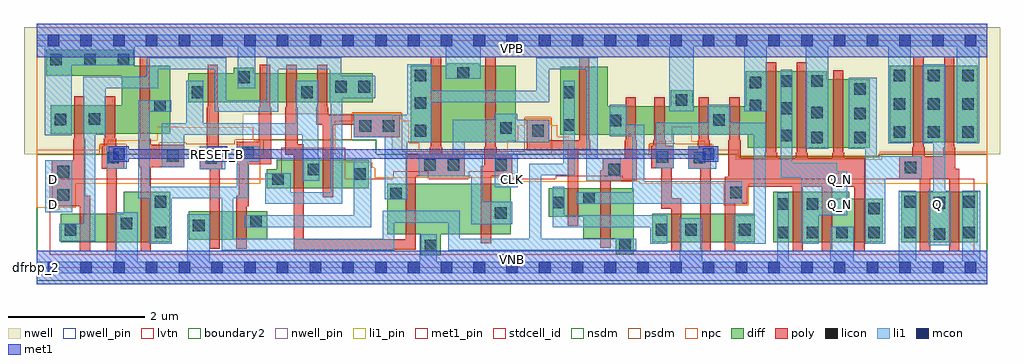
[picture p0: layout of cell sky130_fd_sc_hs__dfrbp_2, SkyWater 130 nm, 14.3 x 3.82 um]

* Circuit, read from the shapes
.subckt sky130_fd_sc_hs__dfrbp_2 CLK D Q Q_N RESET_B VGND VNB VPB VPWR
XM1 n1 D n2 VNB sky130_fd_pr__nfet_01v8_lvt w=0.42 l=0.15
XM2 VGND RESET_B n1 VNB sky130_fd_pr__nfet_01v8_lvt w=0.42 l=0.15
XM3 n3 n4 VGND VNB sky130_fd_pr__nfet_01v8_lvt w=0.74 l=0.15
XM4 n5 RESET_B VGND VNB sky130_fd_pr__nfet_01v8_lvt w=0.42 l=0.15
XM5 n6 n3 n5 VNB sky130_fd_pr__nfet_01v8_lvt w=0.42 l=0.15
XM6 n4 n7 n2 VNB sky130_fd_pr__nfet_01v8_lvt w=0.42 l=0.15
XM7 n6 n8 n4 VNB sky130_fd_pr__nfet_01v8_lvt w=0.42 l=0.15
XM8 VGND n7 n8 VNB sky130_fd_pr__nfet_01v8_lvt w=0.74 l=0.15
XM9 n7 CLK VGND VNB sky130_fd_pr__nfet_01v8_lvt w=0.74 l=0.15
XM10 n9 n7 n10 VNB sky130_fd_pr__nfet_01v8_lvt w=0.42 l=0.15
XM11 n3 n8 n9 VNB sky130_fd_pr__nfet_01v8_lvt w=0.74 l=0.15
XM12 VGND n11 n10 VNB sky130_fd_pr__nfet_01v8_lvt w=0.42 l=0.15
XM13 n12 RESET_B VGND VNB sky130_fd_pr__nfet_01v8_lvt w=0.42 l=0.15
XM14 n11 n9 n12 VNB sky130_fd_pr__nfet_01v8_lvt w=0.42 l=0.15
XM15 Q_N n9 VGND VNB sky130_fd_pr__nfet_01v8_lvt w=0.74 l=0.15 m=2
XM16 n13 n9 VGND VNB sky130_fd_pr__nfet_01v8_lvt w=0.64 l=0.15
XM17 Q n13 VGND VNB sky130_fd_pr__nfet_01v8_lvt w=0.74 l=0.15 m=2
XM18 n2 D VPWR VPB sky130_fd_pr__pfet_01v8 w=0.42 l=0.15
XM19 VPWR RESET_B n2 VPB sky130_fd_pr__pfet_01v8 w=0.42 l=0.15
XM20 n3 n4 VPWR VPB sky130_fd_pr__pfet_01v8 w=1 l=0.15
XM21 VPWR RESET_B n4 VPB sky130_fd_pr__pfet_01v8 w=0.42 l=0.15
XM22 n14 n3 VPWR VPB sky130_fd_pr__pfet_01v8 w=0.42 l=0.15
XM23 n4 n7 n14 VPB sky130_fd_pr__pfet_01v8 w=0.42 l=0.15
XM24 n2 n8 n4 VPB sky130_fd_pr__pfet_01v8 w=0.42 l=0.15
XM25 VPWR n7 n8 VPB sky130_fd_pr__pfet_01v8 w=1.12 l=0.15
XM26 n7 CLK VPWR VPB sky130_fd_pr__pfet_01v8 w=1.12 l=0.15
XM27 n9 n7 n3 VPB sky130_fd_pr__pfet_01v8 w=1 l=0.15
XM28 n15 n8 n9 VPB sky130_fd_pr__pfet_01v8 w=0.42 l=0.15
XM29 VPWR n11 n15 VPB sky130_fd_pr__pfet_01v8 w=0.42 l=0.15
XM30 n11 RESET_B VPWR VPB sky130_fd_pr__pfet_01v8 w=0.42 l=0.15
XM31 VPWR n9 n11 VPB sky130_fd_pr__pfet_01v8 w=0.42 l=0.15
XM32 Q_N n9 VPWR VPB sky130_fd_pr__pfet_01v8 w=1.12 l=0.15 m=2
XM33 n13 n9 VPWR VPB sky130_fd_pr__pfet_01v8 w=1 l=0.15
XM34 Q n13 VPWR VPB sky130_fd_pr__pfet_01v8 w=1.12 l=0.15 m=2
.ends

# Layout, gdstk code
import gdstk
lib = gdstk.Library(unit=1e-6, precision=1e-09)
def R(c, l, rs):  # rectangles x0, y0, x1, y1
    for r in rs: c.add(gdstk.rectangle(r[:2], r[2:], *l))
def A(c, l, x, y, w, h, nx, ny, dx, dy):  # array of equal rectangles
    R(c, l, [(x+i*dx, y+j*dy, x+i*dx+w, y+j*dy+h) for i in range(nx) for j in range(ny)])
def P(c, l, *ps):  # polygons
    for p in ps: c.add(gdstk.Polygon(p, *l))
nwell_pin = (64, 16)
nwell = (64, 20)
diff = (65, 20)
poly = (66, 20)
licon = (66, 44)
li1_pin = (67, 16)
li1 = (67, 20)
mcon = (67, 44)
met1_pin = (68, 16)
met1 = (68, 20)
stdcell_id = (81, 4)
nsdm = (93, 44)
psdm = (94, 20)
npc = (95, 20)
pwell_pin = (122, 16)
lvtn = (125, 44)
boundary2 = (236, 0)

sky130_fd_sc_hs__dfrbp_2 = lib.new_cell('sky130_fd_sc_hs__dfrbp_2')
R(sky130_fd_sc_hs__dfrbp_2, nwell_pin, [(0,3.085,13.92,3.33)])
P(sky130_fd_sc_hs__dfrbp_2, nwell, [(14.11,3.52),(-0.19,3.52),(-0.19,1.66),(3.025,1.66),(3.025,2.245),(5.2,2.245),(5.2,1.66),(10.235,1.66),(10.235,1.58),(12.385,1.58),(12.385,1.66),(14.11,1.66)])
R(sky130_fd_sc_hs__dfrbp_2, diff, [(9.015,0.37,10.515,0.79), (12.665,0.37,13.785,1.11), (2.225,0.405,3.375,0.825), (12.495,1.84,13.785,2.96)])
P(sky130_fd_sc_hs__dfrbp_2, diff, [(1.95,2.96),(1.415,2.96),(1.415,3.195),(0.135,3.195),(0.135,2.81),(1.24,2.81),(1.24,2.38),(0.2,2.38),(0.2,1.96),(1.95,1.96)],
  [(12.395,1.01),(11.9,1.01),(11.9,1.11),(10.785,1.11),(10.785,0.37),(12.395,0.37)],
  [(1.955,1.11),(1.27,1.11),(1.27,0.79),(0.35,0.79),(0.35,0.37),(1.955,0.37)],
  [(4.86,1.58),(3.51,1.58),(3.51,1.44),(3.365,1.44),(3.365,1.16),(4.86,1.16)],
  [(4.92,2.845),(3.175,2.845),(3.175,2.93),(2.885,2.93),(2.885,2.845),(2.22,2.845),(2.22,2.425),(4.92,2.425)],
  [(6.94,1.23),(5.13,1.23),(5.13,0.49),(5.625,0.49),(5.625,0.18),(5.915,0.18),(5.915,0.49),(6.94,0.49)],
  [(7.015,2.96),(6.48,2.96),(6.48,2.995),(6.01,2.995),(6.01,2.96),(5.475,2.96),(5.475,1.84),(7.015,1.84)],
  [(8.745,1.165),(7.495,1.165),(7.495,0.745),(8.005,0.745),(8.005,0.425),(8.48,0.425),(8.48,0.195),(8.745,0.195)],
  [(12.205,2.76),(11.575,2.76),(11.575,2.88),(10.385,2.88),(10.385,2.365),(9.605,2.365),(9.605,2.6),(9.285,2.6),(9.285,2.365),(8.36,2.365),(8.36,2.945),(7.665,2.945),(7.665,1.945),(10.415,1.945),(10.415,1.76),(12.205,1.76)])
P(sky130_fd_sc_hs__dfrbp_2, poly, [(1.28,1.78),(1.16,1.78),(1.16,1.885),(1.145,1.885),(1.145,2.51),(0.995,2.51),(0.995,1.885),(0.98,1.885),(0.98,1.78),(0.95,1.78),(0.95,1.45),(1.02,1.45),(1.02,0.24),(1.17,0.24),(1.17,1.45),(1.28,1.45)],
  [(2.155,1.8),(1.67,1.8),(1.67,1.885),(1.655,1.885),(1.655,3.09),(1.505,3.09),(1.505,1.885),(1.49,1.885),(1.49,1.47),(1.52,1.47),(1.52,0.24),(1.67,0.24),(1.67,1.47),(2.155,1.47)],
  [(2.715,1.775),(2.665,1.775),(2.665,2.35),(2.65,2.35),(2.65,2.975),(2.5,2.975),(2.5,2.35),(2.485,2.35),(2.485,1.775),(2.385,1.775),(2.385,1.445),(2.53,1.445),(2.53,0.275),(2.68,0.275),(2.68,1.445),(2.715,1.445)],
  [(3.43,2.35),(3.415,2.35),(3.415,2.975),(3.265,2.975),(3.265,2.35),(3.25,2.35),(3.25,1.845),(2.925,1.845),(2.925,1.515),(2.955,1.515),(2.955,1.05),(2.92,1.05),(2.92,0.275),(3.07,0.275),(3.07,0.9),(3.105,0.9),(3.105,1.515),(3.43,1.515)],
  [(5.315,2.24),(4.27,2.24),(4.27,2.35),(4.255,2.35),(4.255,2.975),(4.105,2.975),(4.105,2.35),(4.09,2.35),(4.09,2.09),(4.19,2.09),(4.19,1.03),(4.34,1.03),(4.34,2.09),(4.645,2.09),(4.645,1.91),(5.315,1.91)],
  [(6.265,1.67),(5.935,1.67),(5.935,1.765),(5.92,1.765),(5.92,3.09),(5.77,3.09),(5.77,1.765),(5.755,1.765),(5.755,1.67),(5.4,1.67),(5.4,0.415),(3.91,0.415),(3.91,1.805),(3.82,1.805),(3.82,2.35),(3.805,2.35),(3.805,2.975),(3.655,2.975),(3.655,2.35),(3.64,2.35),(3.64,1.655),(3.76,1.655),(3.76,0.265),(5.55,0.265),(5.55,1.34),(6.265,1.34)],
  [(6.965,1.67),(6.735,1.67),(6.735,1.765),(6.72,1.765),(6.72,3.09),(6.57,3.09),(6.57,1.765),(6.555,1.765),(6.555,1.49),(6.505,1.49),(6.505,0.36),(6.655,0.36),(6.655,1.34),(6.965,1.34)],
  [(8.11,1.87),(8.095,1.87),(8.095,3.075),(7.945,3.075),(7.945,1.87),(7.505,1.87),(7.505,2.17),(7.175,2.17),(7.175,1.72),(7.78,1.72),(7.78,0.615),(7.93,0.615),(7.93,1.72),(8.11,1.72)],
  [(8.79,1.87),(8.775,1.87),(8.775,2.495),(8.625,2.495),(8.625,1.87),(8.61,1.87),(8.61,1.605),(8.29,1.605),(8.29,1.425),(8.255,1.425),(8.255,0.295),(8.405,0.295),(8.405,1.275),(8.79,1.275)],
  [(9.44,1.015),(9.3,1.015),(9.3,1.455),(9.33,1.455),(9.33,1.785),(9.21,1.785),(9.21,1.87),(9.195,1.87),(9.195,2.495),(9.045,2.495),(9.045,1.87),(9.03,1.87),(9.03,1.785),(9,1.785),(9,1.455),(9.15,1.455),(9.15,0.865),(9.29,0.865),(9.29,0.24),(9.44,0.24)],
  [(9.87,1.78),(9.86,1.78),(9.86,1.87),(9.845,1.87),(9.845,2.495),(9.695,2.495),(9.695,1.87),(9.68,1.87),(9.68,1.78),(9.54,1.78),(9.54,1.45),(9.72,1.45),(9.72,0.24),(9.87,0.24)],
  [(12.125,1.6),(11.83,1.6),(11.83,1.685),(11.815,1.685),(11.815,2.89),(11.665,2.89),(11.665,1.685),(11.65,1.685),(11.65,1.6),(11.295,1.6),(11.295,1.685),(11.28,1.685),(11.28,3.01),(11.13,3.01),(11.13,1.685),(11.115,1.685),(11.115,1.6),(10.845,1.6),(10.845,1.685),(10.83,1.685),(10.83,3.01),(10.68,3.01),(10.68,1.685),(10.665,1.685),(10.665,1.6),(10.31,1.6),(10.31,1.87),(10.295,1.87),(10.295,2.495),(10.145,2.495),(10.145,1.87),(10.13,1.87),(10.13,1.335),(10.08,1.335),(10.08,0.24),(10.23,0.24),(10.23,0.935),(10.41,0.935),(10.41,1.185),(11.07,1.185),(11.07,0.24),(11.22,0.24),(11.22,1.185),(11.5,1.185),(11.5,0.24),(11.65,0.24),(11.65,1.185),(11.975,1.185),(11.975,0.24),(12.125,0.24)],
  [(13.515,1.45),(13.455,1.45),(13.455,1.765),(13.44,1.765),(13.44,3.09),(13.29,3.09),(13.29,1.765),(13.275,1.765),(13.275,1.63),(13.005,1.63),(13.005,1.765),(12.99,1.765),(12.99,3.09),(12.84,3.09),(12.84,1.765),(12.825,1.765),(12.825,1.63),(12.635,1.63),(12.635,1.3),(12.935,1.3),(12.935,0.24),(13.085,0.24),(13.085,1.3),(13.365,1.3),(13.365,0.24),(13.515,0.24)],
  [(0.78,1.05),(0.71,1.05),(0.71,1.885),(0.695,1.885),(0.695,2.51),(0.545,2.51),(0.545,1.885),(0.53,1.885),(0.53,1.57),(0.22,1.57),(0.22,0.9),(0.63,0.9),(0.63,0.24),(0.78,0.24)])
A(sky130_fd_sc_hs__dfrbp_2, licon, 11.975, 1.82, 0.17, 0.17, 1, 3, 0, 0.355)
A(sky130_fd_sc_hs__dfrbp_2, licon, 10.895, 1.85, 0.17, 0.17, 1, 3, 0, 0.4)
A(sky130_fd_sc_hs__dfrbp_2, licon, 12.555, 1.9, 0.17, 0.17, 3, 3, 0.5, 0.415)
A(sky130_fd_sc_hs__dfrbp_2, licon, 5.535, 1.92, 0.17, 0.17, 1, 3, 0, 0.405)
A(sky130_fd_sc_hs__dfrbp_2, licon, 0.195, 2.965, 0.17, 0.17, 3, 1, 0.495, 0)
R(sky130_fd_sc_hs__dfrbp_2, licon, [(5.685,0.24,5.855,0.41), (8.53,0.255,8.7,0.425), (13.14,0.41,13.31,0.58), (1.725,0.43,1.895,0.6), (10.845,0.43,11.015,0.6), (11.275,0.43,11.445,0.6), (11.71,0.43,11.88,0.6), (12.18,0.43,12.35,0.6), (12.71,0.43,12.88,0.6), (13.57,0.43,13.74,0.6), (0.405,0.47,0.575,0.64), (9.065,0.47,9.235,0.64), (9.495,0.47,9.665,0.64), (10.285,0.47,10.455,0.64), (2.285,0.53,2.455,0.7), (1.225,0.56,1.395,0.73), (3.125,0.595,3.295,0.765), (6.71,0.715,6.88,0.885), (12.18,0.78,12.35,0.95), (10.845,0.85,11.015,1.02), (11.275,0.85,11.445,1.02), (13.14,0.865,13.31,1.035), (7.555,0.87,7.725,1.04), (1.725,0.88,1.895,1.05), (12.71,0.88,12.88,1.05), (13.57,0.88,13.74,1.05), (8.005,0.935,8.175,1.105), (0.3,0.98,0.47,1.15), (5.175,1,5.345,1.17), (10.16,1.015,10.33,1.185), (3.445,1.215,3.615,1.385), (4.645,1.285,4.815,1.455), (0.3,1.32,0.47,1.49), (3.965,1.355,4.135,1.525), (8.37,1.355,8.54,1.525), (12.715,1.38,12.885,1.55), (5.675,1.42,5.845,1.59), (6.015,1.42,6.185,1.59), (6.715,1.42,6.885,1.59), (2.465,1.525,2.635,1.695), (1.03,1.53,1.2,1.7), (9.62,1.53,9.79,1.7), (9.08,1.535,9.25,1.705), (1.905,1.55,2.075,1.72), (3.005,1.595,3.175,1.765), (11.345,1.82,11.515,1.99), (7.255,1.92,7.425,2.09), (6.785,1.96,6.955,2.13), (4.725,1.99,4.895,2.16), (5.065,1.99,5.235,2.16), (7.71,2.005,7.88,2.175), (8.39,2.07,8.56,2.24), (9.91,2.08,10.08,2.25), (0.26,2.085,0.43,2.255), (0.76,2.09,0.93,2.26), (11.345,2.19,11.515,2.36), (1.72,2.285,1.89,2.455), (10.445,2.29,10.615,2.46), (9.36,2.37,9.53,2.54), (2.265,2.485,2.435,2.655), (3.87,2.485,4.04,2.655), (7.71,2.485,7.88,2.655), (4.37,2.565,4.54,2.735), (4.71,2.565,4.88,2.735), (10.445,2.63,10.615,2.8), (11.345,2.65,11.515,2.82), (2.945,2.705,3.115,2.875), (6.16,2.765,6.33,2.935)])
R(sky130_fd_sc_hs__dfrbp_2, li1_pin, [(0.155,0.84,0.325,1.01), (11.675,0.84,11.845,1.01), (13.115,0.84,13.285,1.01), (0.155,1.21,0.325,1.38), (6.875,1.21,7.045,1.38), (11.675,1.21,11.845,1.38)])
R(sky130_fd_sc_hs__dfrbp_2, li1, [(0.125,0.81,0.515,1.57), (6.705,1.18,7.045,1.67), (2.385,1.445,2.755,1.775), (1.025,1.45,1.315,1.78), (9.54,1.45,9.955,1.78)])
P(sky130_fd_sc_hs__dfrbp_2, li1, [(8.78,0.425),(7.385,0.425),(7.385,1.355),(7.88,1.355),(7.88,2.735),(7.71,2.735),(7.71,1.525),(7.215,1.525),(7.215,0.425),(6.195,0.425),(6.195,0.83),(5.065,0.83),(5.065,0.425),(2.875,0.425),(2.875,1.015),(3.095,1.015),(3.095,1.555),(3.255,1.555),(3.255,1.775),(2.925,1.775),(2.925,1.185),(1.655,1.185),(1.655,2.285),(1.97,2.285),(1.97,2.455),(1.485,2.455),(1.485,1.015),(1.645,1.015),(1.645,0.35),(1.975,0.35),(1.975,1.015),(2.705,1.015),(2.705,0.255),(5.235,0.255),(5.235,0.66),(6.025,0.66),(6.025,0.255),(8.78,0.255)],
  [(10.335,1.265),(8.895,1.265),(8.895,2.095),(8.64,2.095),(8.64,2.385),(8.39,2.385),(8.39,1.925),(8.725,1.925),(8.725,1.105),(7.905,1.105),(7.905,0.935),(10.335,0.935)],
  [(8.555,1.605),(8.22,1.605),(8.22,3.075),(7.315,3.075),(7.315,2.595),(5.785,2.595),(5.785,2.98),(5.425,2.98),(5.425,2.24),(4.645,2.24),(4.645,1.91),(5.095,1.91),(5.095,1),(5.425,1),(5.425,1.84),(5.785,1.84),(5.785,2.425),(7.505,2.425),(7.505,2.905),(8.05,2.905),(8.05,1.275),(8.555,1.275)],
  [(13.39,1.13),(13.305,1.13),(13.305,2.98),(12.975,2.98),(12.975,1.82),(13.135,1.82),(13.135,1.13),(13.06,1.13),(13.06,0.33),(13.39,0.33)],
  [(4.135,1.61),(4.12,1.61),(4.12,2.735),(3.79,2.735),(3.79,2.115),(2.435,2.115),(2.435,2.735),(2.185,2.735),(2.185,2.115),(1.825,2.115),(1.825,1.47),(2.155,1.47),(2.155,1.945),(3.885,1.945),(3.885,1.275),(4.135,1.275)],
  [(4.895,1.6),(4.645,1.6),(4.645,0.765),(3.045,0.765),(3.045,0.595),(4.895,0.595)],
  [(12.965,1.63),(12.305,1.63),(12.305,2.78),(11.895,2.78),(11.895,1.74),(12.135,1.74),(12.135,0.35),(12.43,0.35),(12.43,1.3),(12.965,1.3)],
  [(9.235,0.765),(7.725,0.765),(7.725,1.185),(7.555,1.185),(7.555,0.595),(8.985,0.595),(8.985,0.35),(9.235,0.35)],
  [(11.875,1.41),(11.725,1.41),(11.725,1.54),(11.065,1.54),(11.065,2.9),(10.895,2.9),(10.895,1.32),(11.195,1.32),(11.195,0.35),(11.455,0.35),(11.455,0.77),(11.875,0.77)],
  [(4.96,2.815),(4.46,2.815),(4.46,3.075),(3.365,3.075),(3.365,2.455),(2.775,2.455),(2.775,3.075),(1.605,3.075),(1.605,2.795),(0.68,2.795),(0.68,1.95),(0.685,1.95),(0.685,0.64),(0.325,0.64),(0.325,0.39),(0.855,0.39),(0.855,1.95),(1.01,1.95),(1.01,2.625),(1.775,2.625),(1.775,2.905),(2.605,2.905),(2.605,2.285),(3.535,2.285),(3.535,2.905),(4.29,2.905),(4.29,2.41),(4.305,2.41),(4.305,1.105),(3.715,1.105),(3.715,1.385),(3.345,1.385),(3.345,0.935),(4.475,0.935),(4.475,2.485),(4.96,2.485)],
  [(10.675,2.12),(10.16,2.12),(10.16,2.385),(9.83,2.385),(9.83,2.12),(9.065,2.12),(9.065,1.455),(9.33,1.455),(9.33,1.95),(10.505,1.95),(10.505,0.765),(10.205,0.765),(10.205,0.35),(10.675,0.35)],
  [(7.505,2.17),(7.035,2.17),(7.035,2.255),(6.705,2.255),(6.705,2.17),(6.095,2.17),(6.095,1.67),(5.595,1.67),(5.595,1.34),(6.365,1.34),(6.365,0.635),(6.96,0.635),(6.96,0.965),(6.535,0.965),(6.535,1.67),(6.265,1.67),(6.265,1.84),(7.505,1.84)],
  [(13.92,0.085),(13.82,0.085),(13.82,1.13),(13.56,1.13),(13.56,0.085),(12.88,0.085),(12.88,1.13),(12.63,1.13),(12.63,0.085),(11.965,0.085),(11.965,0.6),(11.625,0.6),(11.625,0.085),(11.015,0.085),(11.015,1.1),(10.845,1.1),(10.845,0.085),(9.745,0.085),(9.745,0.72),(9.415,0.72),(9.415,0.085),(5.855,0.085),(5.855,0.49),(5.605,0.49),(5.605,0.085),(2.535,0.085),(2.535,0.78),(2.205,0.78),(2.205,0.085),(1.475,0.085),(1.475,0.81),(1.145,0.81),(1.145,0.085),(0,0.085),(0,-0.085),(13.92,-0.085)],
  [(13.92,3.415),(0,3.415),(0,3.245),(0.115,3.245),(0.115,1.94),(0.51,1.94),(0.51,2.965),(1.435,2.965),(1.435,3.245),(2.945,3.245),(2.945,2.625),(3.195,2.625),(3.195,3.245),(5.99,3.245),(5.99,2.765),(6.5,2.765),(6.5,3.245),(9.265,3.245),(9.265,2.29),(9.625,2.29),(9.625,3.245),(10.365,3.245),(10.365,2.29),(10.695,2.29),(10.695,3.245),(11.265,3.245),(11.265,1.74),(11.595,1.74),(11.595,3.245),(12.475,3.245),(12.475,1.82),(12.805,1.82),(12.805,3.245),(13.475,3.245),(13.475,1.82),(13.805,1.82),(13.805,3.245),(13.92,3.245)])
A(sky130_fd_sc_hs__dfrbp_2, mcon, 0.155, -0.085, 0.17, 0.17, 29, 2, 0.48, 3.33)
R(sky130_fd_sc_hs__dfrbp_2, mcon, [(1.115,1.58,1.285,1.75), (2.555,1.58,2.725,1.75), (9.755,1.58,9.925,1.75)])
R(sky130_fd_sc_hs__dfrbp_2, met1_pin, [(0,0,13.92,0.245), (2.555,1.58,2.725,1.75), (0,3.085,13.92,3.33)])
R(sky130_fd_sc_hs__dfrbp_2, met1, [(0,-0.245,13.92,0.245), (0,3.085,13.92,3.575)])
P(sky130_fd_sc_hs__dfrbp_2, met1, [(9.985,1.78),(9.695,1.78),(9.695,1.735),(2.785,1.735),(2.785,1.78),(2.495,1.78),(2.495,1.735),(1.345,1.735),(1.345,1.78),(1.055,1.78),(1.055,1.55),(1.345,1.55),(1.345,1.595),(2.495,1.595),(2.495,1.55),(2.785,1.55),(2.785,1.595),(9.695,1.595),(9.695,1.55),(9.985,1.55)])
R(sky130_fd_sc_hs__dfrbp_2, stdcell_id, [(0,0,13.92,3.33)])
P(sky130_fd_sc_hs__dfrbp_2, nsdm, [(13.92,1.66),(12.335,1.66),(12.335,1.63),(10.285,1.63),(10.285,1.66),(4.97,1.66),(4.97,1.875),(3.315,1.875),(3.315,1.66),(0,1.66),(0,-0.19),(13.92,-0.19)])
P(sky130_fd_sc_hs__dfrbp_2, psdm, [(13.92,3.52),(0,3.52),(0,1.66),(0.92,1.66),(0.92,1.81),(1.31,1.81),(1.31,1.66),(1.795,1.66),(1.795,1.83),(2.185,1.83),(2.185,1.805),(2.895,1.805),(2.895,1.875),(4.615,1.875),(4.615,2.27),(5.345,2.27),(5.345,1.7),(7.145,1.7),(7.145,2.2),(7.535,2.2),(7.535,1.66),(8.97,1.66),(8.97,1.815),(9.36,1.815),(9.36,1.81),(9.9,1.81),(9.9,1.66),(10.285,1.66),(10.285,1.63),(12.335,1.63),(12.335,1.66),(13.92,1.66)])
P(sky130_fd_sc_hs__dfrbp_2, npc, [(13.92,1.7),(12.345,1.7),(12.345,1.62),(10.275,1.62),(10.275,1.73),(9.89,1.73),(9.89,1.8),(9.785,1.8),(9.785,1.855),(9.59,1.855),(9.59,2.065),(9.3,2.065),(9.3,1.855),(9.085,1.855),(9.085,1.805),(8.98,1.805),(8.98,1.73),(7.79,1.73),(7.79,1.915),(7.62,1.915),(7.62,2.085),(7.525,2.085),(7.525,2.19),(7.155,2.19),(7.155,2.085),(7.045,2.085),(7.045,1.87),(6.89,1.87),(6.89,1.7),(5.6,1.7),(5.6,1.83),(5.445,1.83),(5.445,2.155),(5.335,2.155),(5.335,2.26),(4.625,2.26),(4.625,2.155),(4.36,2.155),(4.36,1.67),(4.43,1.67),(4.43,1.545),(4.905,1.545),(4.905,1.465),(4.95,1.465),(4.95,1.32),(7.03,1.32),(7.03,1.255),(8.835,1.255),(8.835,1.23),(10.06,1.23),(10.06,0.915),(10.43,0.915),(10.43,1.23),(13.92,1.23)],
  [(3.275,1.865),(3.17,1.865),(3.17,2.06),(2.07,2.06),(2.07,2.065),(1.76,2.065),(1.76,1.87),(1.035,1.87),(1.035,1.8),(0.93,1.8),(0.93,1.73),(0,1.73),(0,0.88),(0.57,0.88),(0.57,1.23),(3.275,1.23)])
R(sky130_fd_sc_hs__dfrbp_2, pwell_pin, [(0,0,13.92,0.245)])
P(sky130_fd_sc_hs__dfrbp_2, lvtn, [(13.73,1.3),(8.585,1.3),(8.585,1.345),(7.6,1.345),(7.6,1.3),(6.835,1.3),(6.835,1.41),(6.325,1.41),(6.325,1.3),(5.73,1.3),(5.73,1.41),(5.22,1.41),(5.22,1.3),(4.52,1.3),(4.52,1.76),(3.58,1.76),(3.58,1.3),(0.19,1.3),(0.19,0.19),(13.73,0.19)])
R(sky130_fd_sc_hs__dfrbp_2, boundary2, [(0,0,13.92,3.33)])
sky130_fd_sc_hs__dfrbp_2.add(gdstk.Label('dfrbp_2', (0,0), layer=83, texttype=44))
sky130_fd_sc_hs__dfrbp_2.add(gdstk.Label('VNB', (6.96,0.123), layer=64, texttype=59))
sky130_fd_sc_hs__dfrbp_2.add(gdstk.Label('VPB', (6.96,3.208), layer=64, texttype=5))
sky130_fd_sc_hs__dfrbp_2.add(gdstk.Label('RESET_B', (2.64,1.665), layer=68, texttype=5))
sky130_fd_sc_hs__dfrbp_2.add(gdstk.Label('VPWR', (6.96,3.208), layer=68, texttype=5))
sky130_fd_sc_hs__dfrbp_2.add(gdstk.Label('VGND', (6.96,0.123), layer=68, texttype=5))
sky130_fd_sc_hs__dfrbp_2.add(gdstk.Label('Q', (13.2,0.925), layer=67, texttype=5))
sky130_fd_sc_hs__dfrbp_2.add(gdstk.Label('Q_N', (11.76,0.925), layer=67, texttype=5))
sky130_fd_sc_hs__dfrbp_2.add(gdstk.Label('Q_N', (11.76,1.295), layer=67, texttype=5))
sky130_fd_sc_hs__dfrbp_2.add(gdstk.Label('D', (0.24,0.925), layer=67, texttype=5))
sky130_fd_sc_hs__dfrbp_2.add(gdstk.Label('D', (0.24,1.295), layer=67, texttype=5))
sky130_fd_sc_hs__dfrbp_2.add(gdstk.Label('CLK', (6.96,1.295), layer=67, texttype=5))

lib.write_gds('sky130_fd_sc_hs__dfrbp_2.gds')
